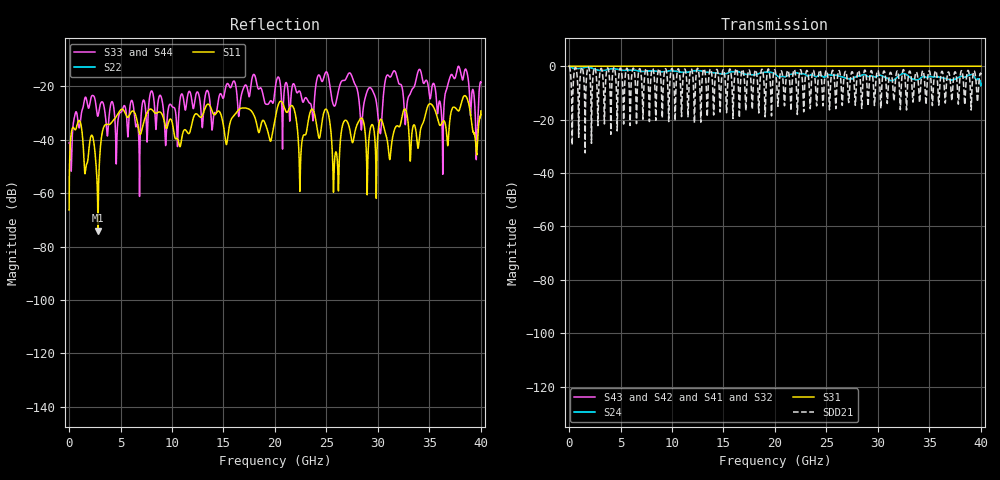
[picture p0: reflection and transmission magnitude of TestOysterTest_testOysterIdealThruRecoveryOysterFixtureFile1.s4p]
# MHz MA S R 50.0
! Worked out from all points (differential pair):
!   8000 points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, 5 MHz to 40 GHz, reference 50 ohm
!   strongest paths, dB at 5 MHz, 10.01 GHz, 20 GHz, 30 GHz, 40 GHz:
!     S31: 0.0, 0.0, 0.0, 0.0, 0.0
!     S24: 0.0, -1.7, -2.9, -3.5, -6.3
!     S43: -, -, -, -, -
!     S42: -, -, -, -, -
!     S41: -, -, -, -, -
!     S32: -, -, -, -, -
!   taken as a pair (ports 1,4 in; 3,2 out), SDD21 dB: 0.0, -0.9, -1.5, -1.7, -3.1
!   lowest |S11| = -74.0 dB at 2.81 GHz (marker M1), VSWR 1.00, Z = 50 + j0.0197 ohm
!   |S11| at or under -10 dB: start of sweep to end of sweep
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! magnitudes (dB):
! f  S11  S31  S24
! 5 MHz  -66.3  0.0  0.0
! 965 MHz  -32.8  0.0  -0.8
! 2.81 GHz  -74.0  0.0  -1.5
! 5.115 GHz  -28.6  0.0  -1.5
! 24.96 GHz  -28.5  0.0  -3.7
! 25.77 GHz  -48.6  0.0  -3.3
! 40 GHz  -29.2  0.0  -6.3
